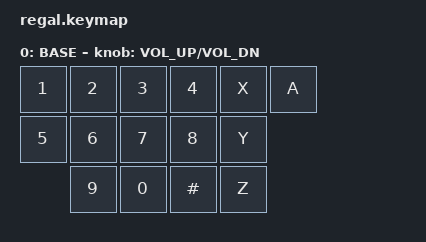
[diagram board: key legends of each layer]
//                                                      ▀▀▀█
//               ▄▄▄▄      ▄▄▄      ▄▄▄▄▄      ▄▄▄▄▄       █
//               █        █▄▄▄█    █    █     █    █       █
//            ▄▄▄█▄▄▄     ▀▄▄▄     ▀▄▄▄▄█     ▀▄▄▄▀█    ▄▄▄█▄▄▄
//                                  ▄▄▄▄▀  


#include <behaviors.dtsi>
#include <dt-bindings/zmk/keys.h>
#include <dt-bindings/zmk/bt.h>
#include <dt-bindings/zmk/outputs.h>

#define BASE 0

/ {
        keymap {
                compatible = "zmk,keymap";

                base_layer {
// ┌───────────────────────────────────┐
label= "BASE"                          ;
// └───────────────────────────────────┘
// ┌───────────┬───────────┬───────────┬───────────┐╭───────────╮╭───────────╮
// │     1     │     2     │     3     │     4     ││     X     ││     A     │
// ├───────────┼───────────┼───────────┼───────────┤├───────────┤╰───────────╯
// │     5     │     6     │     7     │     8     ││     Y     │
// └───────────┼───────────┼───────────┼───────────┤├───────────┤
//             │     9     │     0     │     #     ││     Z     │
//             └───────────┴───────────┴───────────┘╰───────────╯
 bindings = <
// ╷           ╷           ╷           ╷           ╷╷           ╷╷           ╷

    &kp N1      &kp N2      &kp N3      &kp N4       &kp X        &kp A
    &kp N5      &kp N6      &kp N7      &kp N8       &kp Y
                &kp N9      &kp N0      &kp HASH     &kp Z      
                        >;
            sensor-bindings = <&inc_dec_kp C_VOL_UP C_VOL_DN>;
                };


        };
};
